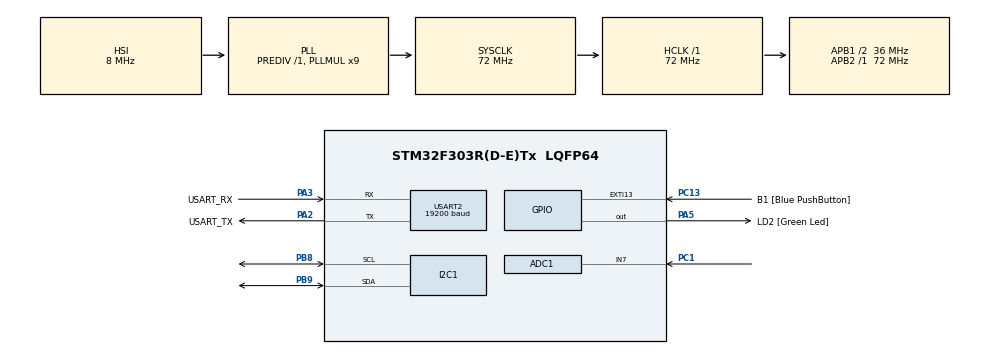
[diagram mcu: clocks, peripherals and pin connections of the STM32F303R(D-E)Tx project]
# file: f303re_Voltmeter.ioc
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ADC1.Channel-0\#ChannelRegularConversion=ADC_CHANNEL_7
ADC1.ClockPrescaler=ADC_CLOCK_SYNC_PCLK_DIV1
ADC1.ContinuousConvMode=ENABLE
ADC1.DMAContinuousRequests=ENABLE
ADC1.NbrOfConversionFlag=1
ADC1.Offset-0\#ChannelRegularConversion=0
ADC1.OffsetNumber-0\#ChannelRegularConversion=ADC_OFFSET_NONE
ADC1.Overrun=ADC_OVR_DATA_PRESERVED
ADC1.Rank-0\#ChannelRegularConversion=1
ADC1.SamplingTime-0\#ChannelRegularConversion=ADC_SAMPLETIME_1CYCLE_5
ADC1.SamplingTimeOPAMP-0\#ChannelRegularConversion=ADC_SAMPLETIME_61CYCLES_5
ADC1.master=1
Dma.ADC1.0.Direction=DMA_PERIPH_TO_MEMORY
Dma.ADC1.0.Instance=DMA1_Channel1
Dma.ADC1.0.MemDataAlignment=DMA_MDATAALIGN_HALFWORD
Dma.ADC1.0.MemInc=DMA_MINC_ENABLE
Dma.ADC1.0.Mode=DMA_CIRCULAR
Dma.ADC1.0.PeriphDataAlignment=DMA_PDATAALIGN_HALFWORD
Dma.ADC1.0.PeriphInc=DMA_PINC_DISABLE
Dma.ADC1.0.Priority=DMA_PRIORITY_HIGH
Dma.Request0=ADC1
Mcu.Family=STM32F3
Mcu.Name=STM32F303R(D-E)Tx
Mcu.Package=LQFP64
NVIC.DMA1_Channel1_IRQn=true\:0\:0\:false\:false\:true\:false\:true
NVIC.PriorityGroup=NVIC_PRIORITYGROUP_0
PA13.GPIO_Label=TMS
PA13.Mode=Serial_Wire
PA13.Signal=SYS_JTMS-SWDIO
PA14.GPIO_Label=TCK
PA14.Mode=Serial_Wire
PA14.Signal=SYS_JTCK-SWCLK
PA2.GPIO_Label=USART_TX
PA2.GPIO_Mode=GPIO_MODE_AF_PP
PA2.GPIO_PuPd=GPIO_NOPULL
PA2.GPIO_Speed=GPIO_SPEED_FREQ_LOW
PA2.Mode=Asynchronous
PA2.Signal=USART2_TX
PA3.GPIO_Label=USART_RX
PA3.GPIO_Mode=GPIO_MODE_AF_PP
PA3.GPIO_PuPd=GPIO_NOPULL
PA3.GPIO_Speed=GPIO_SPEED_FREQ_LOW
PA3.Mode=Asynchronous
PA3.Signal=USART2_RX
PA5.GPIO_Label=LD2 [Green Led]
PA5.GPIO_Mode=GPIO_MODE_OUTPUT_PP
PA5.GPIO_PuPd=GPIO_NOPULL
PA5.GPIO_Speed=GPIO_SPEED_FREQ_LOW
PA5.Signal=GPIO_Output
PB3.GPIO_Label=SWO
PB3.Signal=SYS_JTDO-TRACESWO
PB8.Mode=I2C
PB8.Signal=I2C1_SCL
PB9.Mode=I2C
PB9.Signal=I2C1_SDA
PC1.Signal=ADCx_IN7
PC13.GPIO_Label=B1 [Blue PushButton]
PC13.GPIO_ModeDefaultEXTI=GPIO_MODE_IT_FALLING
PC13.Signal=GPXTI13
PC14-OSC32_IN.Mode=LSE-External-Oscillator
PC14-OSC32_IN.Signal=RCC_OSC32_IN
PC15-OSC32_OUT.Mode=LSE-External-Oscillator
PC15-OSC32_OUT.Signal=RCC_OSC32_OUT
PF0-OSC_IN.Mode=HSE-External-Clock-Source
PF0-OSC_IN.Signal=RCC_OSC_IN
PF1-OSC_OUT.Signal=RCC_OSC_OUT
ProjectManager.HeapSize=0x200
ProjectManager.StackSize=0x400
ProjectManager.TargetToolchain=STM32CubeIDE
RCC.AHBFreq_Value=72000000
RCC.APB1CLKDivider=RCC_HCLK_DIV2
RCC.APB1Freq_Value=36000000
RCC.APB1TimFreq_Value=72000000
RCC.APB2Freq_Value=72000000
RCC.APB2TimFreq_Value=72000000
RCC.CortexFreq_Value=72000000
RCC.HCLKFreq_Value=72000000
RCC.HSE_VALUE=8000000
RCC.HSI_VALUE=8000000
RCC.PLLM=8
RCC.PLLMUL=RCC_PLL_MUL9
RCC.PLLN=336
RCC.PLLP=RCC_PLLP_DIV4
RCC.PLLQ=7
RCC.RCC_PLLsource_Clock_Source_FROM_HSE=RCC_HSE_PREDIV_DIV2
RCC.SYSCLKFreq_VALUE=72000000
RCC.SYSCLKSourceVirtual=RCC_SYSCLKSOURCE_PLLCLK
RCC.USBFreq_Value=72000000
SH.ADCx_IN7.0=ADC1_IN7,IN7-Single-Ended
USART2.BaudRate=19200
USART2.VirtualMode-Asynchronous=VM_ASYNC
board=NUCLEO-F303RE

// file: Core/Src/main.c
/* USER CODE BEGIN Header */
/**
  ******************************************************************************
  * @file           : main.c
  * @brief          : Main program body
  ******************************************************************************
  * @attention
  *
  * <h2><center>&copy; Copyright (c) 2021 STMicroelectronics.
  * All rights reserved.</center></h2>
  *
  * This software component is licensed by ST under BSD 3-Clause license,
  * the "License"; You may not use this file except in compliance with the
  * License. You may obtain a copy of the License at:
  *                        opensource.org/licenses/BSD-3-Clause
  *
  ******************************************************************************
  */
/* USER CODE END Header */
#include "main.h"

/* USER CODE BEGIN Includes */
#include <stdio.h>
#include "ssd1306.h"

// https://www.digikey.com/en/maker/projects/getting-started-with-stm32-working-with-adc-and-dma/f5009db3a3ed4370acaf545a3370c30c
// https://os.mbed.com/platforms/ST-Nucleo-F303RE/

/* USER CODE END Includes */

ADC_HandleTypeDef hadc1;
DMA_HandleTypeDef hdma_adc1;

I2C_HandleTypeDef hi2c1;

UART_HandleTypeDef huart2;

/* USER CODE BEGIN PV */
volatile uint16_t adc_data[ADC_BUFFER_SIZE];
volatile uint16_t dma_buffer_offset;
SSD1306_t holed1;
/* USER CODE END PV */

void SystemClock_Config(void);
static void MX_GPIO_Init(void);
static void MX_DMA_Init(void);
static void MX_USART2_UART_Init(void);
static void MX_ADC1_Init(void);
static void MX_I2C1_Init(void);
/* USER CODE BEGIN PFP */
/**
 *  @see https://github.com/STMicroelectronics/STM32CubeF4/blob/master/Projects/STM32F401RE-Nucleo/Examples/UART/UART_Printf/Src/main.c
 */
#ifdef __GNUC__
/* With GCC, small printf (option LD Linker->Libraries->Small printf
 set to 'Yes') calls __io_putchar() */
#define PUTCHAR_PROTOTYPE int __io_putchar(int ch)
#else
#define PUTCHAR_PROTOTYPE int fputc(int ch, FILE *f)
#endif /* __GNUC__ */
/* USER CODE END PFP */

int main(void)
{

  /* MCU Configuration--------------------------------------------------------*/

  /* Reset of all peripherals, Initializes the Flash interface and the Systick. */
  HAL_Init();

  /* Configure the system clock */
  SystemClock_Config();

  /* Initialize all configured peripherals */
  MX_GPIO_Init();
  MX_DMA_Init();
  MX_USART2_UART_Init();
  MX_ADC1_Init();
  MX_I2C1_Init();
  /* USER CODE BEGIN 2 */
  // Calibrate The ADC On Power-Up For Better Accuracy
  HAL_ADCEx_Calibration_Start(&hadc1, ADC_SINGLE_ENDED);
  // HAL_ADC_Start_DMA(&hadc1, adc_data, ADC_BUFFER_SIZE_HALF);

  HAL_ADC_Start_DMA(&hadc1, (uint32_t*)&adc_data[ 0 ], ADC_BUFFER_SIZE_HALF);
  printf("Voltmeter 3000\n");

  holed1.hi2cx = &hi2c1;
  ssd1306_Init(&holed1);
  ssd1306_Fill(&holed1, Black);
  ssd1306_SetCursor(&holed1, 2, 0);
  ssd1306_WriteString(&holed1, "Voltmeter", Font_7x10, White);
  ssd1306_UpdateScreen(&holed1);
  /* USER CODE END 2 */

  /* Infinite loop */
  while (1)
  {

    /* USER CODE BEGIN 3 */
	  float volts = (float)adc_data[0] *3.3f / 4096.0f;
	  char lcd_string[32];
	  sprintf(lcd_string, "%.3f V", volts);
	  printf(lcd_string);
	  printf("\n");

	  ssd1306_SetCursor(&holed1, 2, 15);
	  ssd1306_WriteString(&holed1, lcd_string, Font_16x26, White);
	  ssd1306_UpdateScreen(&holed1);

	  HAL_Delay(500);
	  HAL_GPIO_TogglePin(LD2_GPIO_Port, LD2_Pin);
  }
  /* USER CODE END 3 */
}

void SystemClock_Config(void)
{
  RCC_OscInitTypeDef RCC_OscInitStruct = {0};
  RCC_ClkInitTypeDef RCC_ClkInitStruct = {0};
  RCC_PeriphCLKInitTypeDef PeriphClkInit = {0};

  /** Initializes the RCC Oscillators according to the specified parameters
  * in the RCC_OscInitTypeDef structure.
  */
  RCC_OscInitStruct.OscillatorType = RCC_OSCILLATORTYPE_HSI;
  RCC_OscInitStruct.HSIState = RCC_HSI_ON;
  RCC_OscInitStruct.HSICalibrationValue = RCC_HSICALIBRATION_DEFAULT;
  RCC_OscInitStruct.PLL.PLLState = RCC_PLL_ON;
  RCC_OscInitStruct.PLL.PLLSource = RCC_PLLSOURCE_HSI;
  RCC_OscInitStruct.PLL.PLLMUL = RCC_PLL_MUL9;
  RCC_OscInitStruct.PLL.PREDIV = RCC_PREDIV_DIV1;
  if (HAL_RCC_OscConfig(&RCC_OscInitStruct) != HAL_OK)
  {
    Error_Handler();
  }
  /** Initializes the CPU, AHB and APB buses clocks
  */
  RCC_ClkInitStruct.ClockType = RCC_CLOCKTYPE_HCLK|RCC_CLOCKTYPE_SYSCLK
                              |RCC_CLOCKTYPE_PCLK1|RCC_CLOCKTYPE_PCLK2;
  RCC_ClkInitStruct.SYSCLKSource = RCC_SYSCLKSOURCE_PLLCLK;
  RCC_ClkInitStruct.AHBCLKDivider = RCC_SYSCLK_DIV1;
  RCC_ClkInitStruct.APB1CLKDivider = RCC_HCLK_DIV2;
  RCC_ClkInitStruct.APB2CLKDivider = RCC_HCLK_DIV1;

  if (HAL_RCC_ClockConfig(&RCC_ClkInitStruct, FLASH_LATENCY_2) != HAL_OK)
  {
    Error_Handler();
  }
  PeriphClkInit.PeriphClockSelection = RCC_PERIPHCLK_USART2|RCC_PERIPHCLK_I2C1;
  PeriphClkInit.Usart2ClockSelection = RCC_USART2CLKSOURCE_PCLK1;
  PeriphClkInit.I2c1ClockSelection = RCC_I2C1CLKSOURCE_HSI;
  if (HAL_RCCEx_PeriphCLKConfig(&PeriphClkInit) != HAL_OK)
  {
    Error_Handler();
  }
}

static void MX_ADC1_Init(void)
{

  ADC_MultiModeTypeDef multimode = {0};
  ADC_ChannelConfTypeDef sConfig = {0};

  /** Common config
  */
  hadc1.Instance = ADC1;
  hadc1.Init.ClockPrescaler = ADC_CLOCK_SYNC_PCLK_DIV1;
  hadc1.Init.Resolution = ADC_RESOLUTION_12B;
  hadc1.Init.ScanConvMode = ADC_SCAN_DISABLE;
  hadc1.Init.ContinuousConvMode = ENABLE;
  hadc1.Init.DiscontinuousConvMode = DISABLE;
  hadc1.Init.ExternalTrigConvEdge = ADC_EXTERNALTRIGCONVEDGE_NONE;
  hadc1.Init.ExternalTrigConv = ADC_SOFTWARE_START;
  hadc1.Init.DataAlign = ADC_DATAALIGN_RIGHT;
  hadc1.Init.NbrOfConversion = 1;
  hadc1.Init.DMAContinuousRequests = ENABLE;
  hadc1.Init.EOCSelection = ADC_EOC_SINGLE_CONV;
  hadc1.Init.LowPowerAutoWait = DISABLE;
  hadc1.Init.Overrun = ADC_OVR_DATA_PRESERVED;
  if (HAL_ADC_Init(&hadc1) != HAL_OK)
  {
    Error_Handler();
  }
  /** Configure the ADC multi-mode
  */
  multimode.Mode = ADC_MODE_INDEPENDENT;
  if (HAL_ADCEx_MultiModeConfigChannel(&hadc1, &multimode) != HAL_OK)
  {
    Error_Handler();
  }
  /** Configure Regular Channel
  */
  sConfig.Channel = ADC_CHANNEL_7;
  sConfig.Rank = ADC_REGULAR_RANK_1;
  sConfig.SingleDiff = ADC_SINGLE_ENDED;
  sConfig.SamplingTime = ADC_SAMPLETIME_1CYCLE_5;
  sConfig.OffsetNumber = ADC_OFFSET_NONE;
  sConfig.Offset = 0;
  if (HAL_ADC_ConfigChannel(&hadc1, &sConfig) != HAL_OK)
  {
    Error_Handler();
  }

}

static void MX_I2C1_Init(void)
{

  hi2c1.Instance = I2C1;
  hi2c1.Init.Timing = 0x2000090E;
  hi2c1.Init.OwnAddress1 = 0;
  hi2c1.Init.AddressingMode = I2C_ADDRESSINGMODE_7BIT;
  hi2c1.Init.DualAddressMode = I2C_DUALADDRESS_DISABLE;
  hi2c1.Init.OwnAddress2 = 0;
  hi2c1.Init.OwnAddress2Masks = I2C_OA2_NOMASK;
  hi2c1.Init.GeneralCallMode = I2C_GENERALCALL_DISABLE;
  hi2c1.Init.NoStretchMode = I2C_NOSTRETCH_DISABLE;
  if (HAL_I2C_Init(&hi2c1) != HAL_OK)
  {
    Error_Handler();
  }
  /** Configure Analogue filter
  */
  if (HAL_I2CEx_ConfigAnalogFilter(&hi2c1, I2C_ANALOGFILTER_ENABLE) != HAL_OK)
  {
    Error_Handler();
  }
  /** Configure Digital filter
  */
  if (HAL_I2CEx_ConfigDigitalFilter(&hi2c1, 0) != HAL_OK)
  {
    Error_Handler();
  }

}

static void MX_USART2_UART_Init(void)
{

  huart2.Instance = USART2;
  huart2.Init.BaudRate = 19200;
  huart2.Init.WordLength = UART_WORDLENGTH_8B;
  huart2.Init.StopBits = UART_STOPBITS_1;
  huart2.Init.Parity = UART_PARITY_NONE;
  huart2.Init.Mode = UART_MODE_TX_RX;
  huart2.Init.HwFlowCtl = UART_HWCONTROL_NONE;
  huart2.Init.OverSampling = UART_OVERSAMPLING_16;
  huart2.Init.OneBitSampling = UART_ONE_BIT_SAMPLE_DISABLE;
  huart2.AdvancedInit.AdvFeatureInit = UART_ADVFEATURE_NO_INIT;
  if (HAL_UART_Init(&huart2) != HAL_OK)
  {
    Error_Handler();
  }

}

static void MX_DMA_Init(void)
{

  /* DMA controller clock enable */
  __HAL_RCC_DMA1_CLK_ENABLE();

  /* DMA interrupt init */
  /* DMA1_Channel1_IRQn interrupt configuration */
  HAL_NVIC_SetPriority(DMA1_Channel1_IRQn, 0, 0);
  HAL_NVIC_EnableIRQ(DMA1_Channel1_IRQn);

}

static void MX_GPIO_Init(void)
{
  GPIO_InitTypeDef GPIO_InitStruct = {0};

  /* GPIO Ports Clock Enable */
  __HAL_RCC_GPIOC_CLK_ENABLE();
  __HAL_RCC_GPIOF_CLK_ENABLE();
  __HAL_RCC_GPIOA_CLK_ENABLE();
  __HAL_RCC_GPIOB_CLK_ENABLE();

  /*Configure GPIO pin Output Level */
  HAL_GPIO_WritePin(LD2_GPIO_Port, LD2_Pin, GPIO_PIN_RESET);

  /*Configure GPIO pin : B1_Pin */
  GPIO_InitStruct.Pin = B1_Pin;
  GPIO_InitStruct.Mode = GPIO_MODE_IT_FALLING;
  GPIO_InitStruct.Pull = GPIO_NOPULL;
  HAL_GPIO_Init(B1_GPIO_Port, &GPIO_InitStruct);

  /*Configure GPIO pin : LD2_Pin */
  GPIO_InitStruct.Pin = LD2_Pin;
  GPIO_InitStruct.Mode = GPIO_MODE_OUTPUT_PP;
  GPIO_InitStruct.Pull = GPIO_NOPULL;
  GPIO_InitStruct.Speed = GPIO_SPEED_FREQ_LOW;
  HAL_GPIO_Init(LD2_GPIO_Port, &GPIO_InitStruct);

}

/* USER CODE BEGIN 4 */
/**
 * @brief  Retargets the C library printf function to the USART.
 * @param  None
 * @retval None
 * @see    https://github.com/STMicroelectronics/STM32CubeF4/blob/master/Projects/STM32F401RE-Nucleo/Examples/UART/UART_Printf/Src/main.c
 */
PUTCHAR_PROTOTYPE {
	/* Place your implementation of fputc here */
	/* e.g. write a character to the EVAL_COM1 and Loop until the end of transmission */
	HAL_UART_Transmit(&huart2, (uint8_t *) &ch, 1, 1);

	return ch;
}
/* USER CODE END 4 */

void Error_Handler(void)
{
  __disable_irq();
  while (1)
  {
  }
}

/************************ (C) COPYRIGHT STMicroelectronics *****END OF FILE****/
